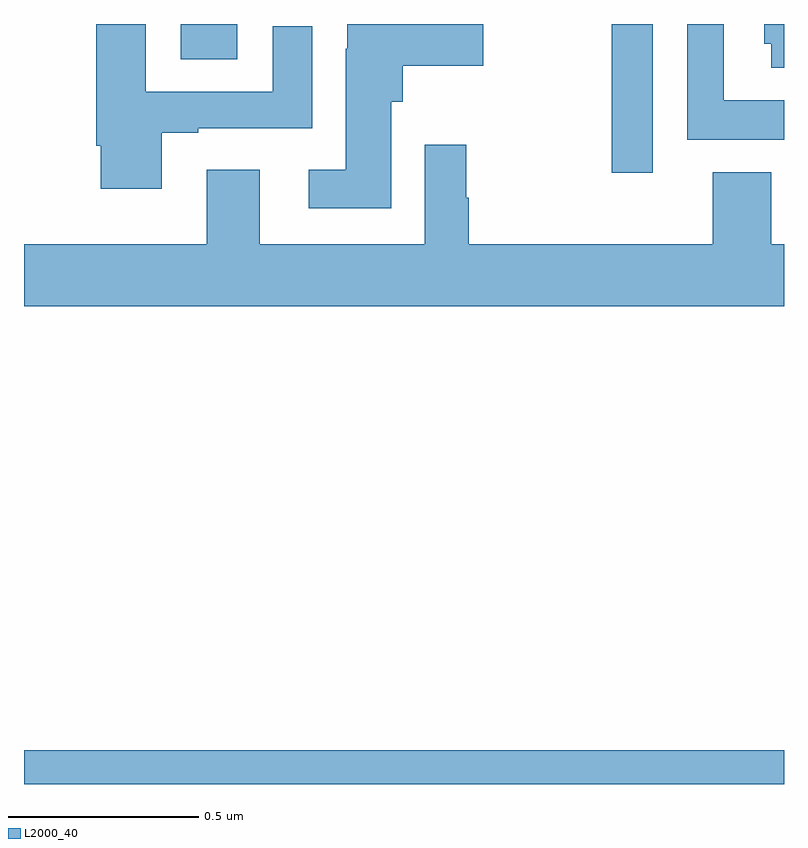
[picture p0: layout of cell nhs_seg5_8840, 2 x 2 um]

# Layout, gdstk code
import gdstk
lib = gdstk.Library(unit=1e-6, precision=1e-09)
def R(c, l, rs):  # rectangles x0, y0, x1, y1
    for r in rs: c.add(gdstk.rectangle(r[:2], r[2:], *l))
def P(c, l, *ps):  # polygons
    for p in ps: c.add(gdstk.Polygon(p, *l))
L2000_40 = (2000, 40)

nhs_seg5_8840 = lib.new_cell('nhs_seg5_8840')
R(nhs_seg5_8840, L2000_40, [(226,892.799,228,892.888), (227.547,894.408,227.655,894.799), (226.412,894.706,226.561,894.799)])
P(nhs_seg5_8840, L2000_40, [(226.363,894.513),(226.459,894.513),(226.459,894.525),(226.759,894.525),(226.759,894.793),(226.655,894.793),(226.655,894.621),(226.321,894.621),(226.321,894.799),(226.19,894.799),(226.19,894.478),(226.202,894.478),(226.202,894.366),(226.363,894.366)],
  [(228,894.598),(227.841,894.598),(227.841,894.799),(227.745,894.799),(227.745,894.494),(228,894.494)],
  [(228,894.799),(227.948,894.799),(227.948,894.747),(227.966,894.747),(227.966,894.684),(228,894.684)],
  [(226.966,894.594),(226.997,894.594),(226.997,894.689),(227.209,894.689),(227.209,894.799),(226.851,894.799),(226.851,894.734),(226.847,894.734),(226.847,894.415),(226.749,894.415),(226.749,894.314),(226.966,894.314)],
  [(228,894.22),(227.966,894.22),(227.966,894.409),(227.813,894.409),(227.813,894.22),(227.171,894.22),(227.171,894.342),(227.164,894.342),(227.164,894.481),(227.055,894.481),(227.055,894.22),(226.621,894.22),(226.621,894.415),(226.481,894.415),(226.481,894.22),(226,894.22),(226,894.056),(228,894.056)])

lib.write_gds('nhs_seg5_8840.gds')
